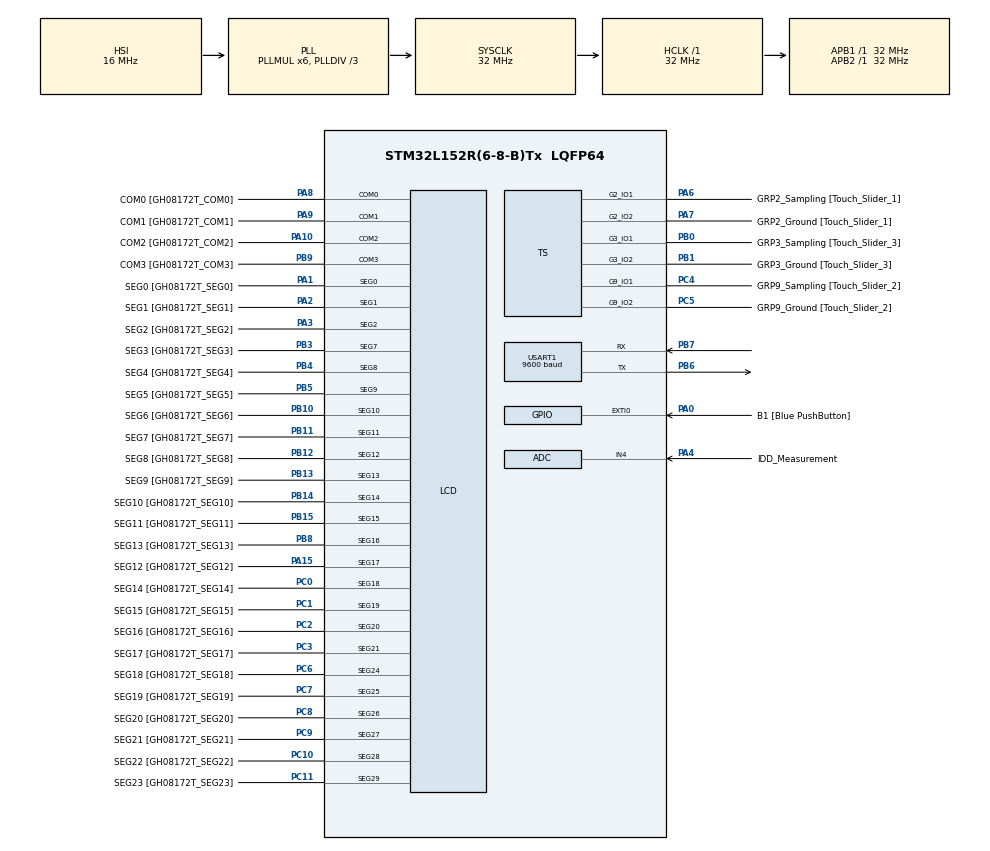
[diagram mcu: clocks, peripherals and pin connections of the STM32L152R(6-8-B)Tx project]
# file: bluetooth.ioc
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ADC.Channel=ADC_CHANNEL_4
ADC.Channel-0\#ChannelRegularConversion=ADC_CHANNEL_4
ADC.Channel-IN4=ADC_CHANNEL_4
ADC.ExternalTrigConv=ADC_EXTERNALTRIGCONV_T2_CC3
ADC.ExternalTrigConv-0\#ChannelRegularConversion=ADC_SOFTWARE_START
ADC.ExternalTrigConvEdge=ADC_EXTERNALTRIGCONVEDGE_RISING
ADC.Rank-0\#ChannelRegularConversion=1
ADC.SamplingTime-0\#ChannelRegularConversion=ADC_SAMPLETIME_4CYCLES
Mcu.Family=STM32L1
Mcu.Name=STM32L152R(6-8-B)Tx
Mcu.Package=LQFP64
NVIC.PriorityGroup=NVIC_PRIORITYGROUP_0
PA0-WKUP1.GPIO_Label=B1 [Blue PushButton]
PA0-WKUP1.GPIO_ModeDefaultEXTI=GPIO_MODE_EVT_RISING
PA0-WKUP1.GPIO_PuPd=GPIO_NOPULL
PA0-WKUP1.Signal=GPXTI0
PA1.GPIO_Label=SEG0 [GH08172T_SEG0]
PA1.GPIO_Mode=GPIO_MODE_AF_PP
PA1.GPIO_PuPd=GPIO_NOPULL
PA1.GPIO_Speed=GPIO_SPEED_FREQ_LOW
PA1.Mode=SEG0
PA1.Signal=LCD_SEG0
PA10.GPIO_Label=COM2 [GH08172T_COM2]
PA10.GPIO_Mode=GPIO_MODE_AF_PP
PA10.GPIO_PuPd=GPIO_NOPULL
PA10.GPIO_Speed=GPIO_SPEED_FREQ_LOW
PA10.Mode=1/4 Duty Cycle
PA10.Signal=LCD_COM2
PA13.GPIO_Label=SWDIO
PA13.Mode=Serial_Wire
PA13.Signal=SYS_JTMS-SWDIO
PA14.GPIO_Label=SWCLK
PA14.Mode=Serial_Wire
PA14.Signal=SYS_JTCK-SWCLK
PA15.GPIO_Label=SEG12 [GH08172T_SEG12]
PA15.GPIO_Mode=GPIO_MODE_AF_PP
PA15.GPIO_PuPd=GPIO_NOPULL
PA15.GPIO_Speed=GPIO_SPEED_FREQ_LOW
PA15.Mode=SEG17
PA15.Signal=LCD_SEG17
PA2.GPIO_Label=SEG1 [GH08172T_SEG1]
PA2.GPIO_Mode=GPIO_MODE_AF_PP
PA2.GPIO_PuPd=GPIO_NOPULL
PA2.GPIO_Speed=GPIO_SPEED_FREQ_LOW
PA2.Mode=SEG1
PA2.Signal=LCD_SEG1
PA3.GPIO_Label=SEG2 [GH08172T_SEG2]
PA3.GPIO_Mode=GPIO_MODE_AF_PP
PA3.GPIO_PuPd=GPIO_NOPULL
PA3.GPIO_Speed=GPIO_SPEED_FREQ_LOW
PA3.Mode=SEG2
PA3.Signal=LCD_SEG2
PA4.GPIO_Label=IDD_Measurement
PA4.GPIO_Mode=GPIO_MODE_ANALOG
PA4.GPIO_PuPd=GPIO_NOPULL
PA4.Mode=IN4
PA4.Signal=ADC_IN4
PA6.GPIO_Label=GRP2_Sampling [Touch_Slider_1]
PA6.Mode=G2_IO1-Sampling
PA6.Signal=TS_G2_IO1
PA7.GPIO_Label=GRP2_Ground [Touch_Slider_1]
PA7.Mode=G2_IO2-Channel
PA7.Signal=TS_G2_IO2
PA8.GPIO_Label=COM0 [GH08172T_COM0]
PA8.GPIO_Mode=GPIO_MODE_AF_PP
PA8.GPIO_PuPd=GPIO_NOPULL
PA8.GPIO_Speed=GPIO_SPEED_FREQ_LOW
PA8.Mode=1/4 Duty Cycle
PA8.Signal=LCD_COM0
PA9.GPIO_Label=COM1 [GH08172T_COM1]
PA9.GPIO_Mode=GPIO_MODE_AF_PP
PA9.GPIO_PuPd=GPIO_NOPULL
PA9.GPIO_Speed=GPIO_SPEED_FREQ_LOW
PA9.Mode=1/4 Duty Cycle
PA9.Signal=LCD_COM1
PB0.GPIO_Label=GRP3_Sampling [Touch_Slider_3]
PB0.Mode=G3_IO1-Sampling
PB0.Signal=TS_G3_IO1
PB1.GPIO_Label=GRP3_Ground [Touch_Slider_3]
PB1.Mode=G3_IO2-Channel
PB1.Signal=TS_G3_IO2
PB10.GPIO_Label=SEG6 [GH08172T_SEG6]
PB10.GPIO_Mode=GPIO_MODE_AF_PP
PB10.GPIO_PuPd=GPIO_NOPULL
PB10.GPIO_Speed=GPIO_SPEED_FREQ_LOW
PB10.Mode=SEG10
PB10.Signal=LCD_SEG10
PB11.GPIO_Label=SEG7 [GH08172T_SEG7]
PB11.GPIO_Mode=GPIO_MODE_AF_PP
PB11.GPIO_PuPd=GPIO_NOPULL
PB11.GPIO_Speed=GPIO_SPEED_FREQ_LOW
PB11.Mode=SEG11
PB11.Signal=LCD_SEG11
PB12.GPIO_Label=SEG8 [GH08172T_SEG8]
PB12.GPIO_Mode=GPIO_MODE_AF_PP
PB12.GPIO_PuPd=GPIO_NOPULL
PB12.GPIO_Speed=GPIO_SPEED_FREQ_LOW
PB12.Mode=SEG12
PB12.Signal=LCD_SEG12
PB13.GPIO_Label=SEG9 [GH08172T_SEG9]
PB13.GPIO_Mode=GPIO_MODE_AF_PP
PB13.GPIO_PuPd=GPIO_NOPULL
PB13.GPIO_Speed=GPIO_SPEED_FREQ_LOW
PB13.Mode=SEG13
PB13.Signal=LCD_SEG13
PB14.GPIO_Label=SEG10 [GH08172T_SEG10]
PB14.GPIO_Mode=GPIO_MODE_AF_PP
PB14.GPIO_PuPd=GPIO_NOPULL
PB14.GPIO_Speed=GPIO_SPEED_FREQ_LOW
PB14.Mode=SEG14
PB14.Signal=LCD_SEG14
PB15.GPIO_Label=SEG11 [GH08172T_SEG11]
PB15.GPIO_Mode=GPIO_MODE_AF_PP
PB15.GPIO_PuPd=GPIO_NOPULL
PB15.GPIO_Speed=GPIO_SPEED_FREQ_LOW
PB15.Mode=SEG15
PB15.Signal=LCD_SEG15
PB3.GPIO_Label=SEG3 [GH08172T_SEG3]
PB3.GPIO_Mode=GPIO_MODE_AF_PP
PB3.GPIO_PuPd=GPIO_NOPULL
PB3.GPIO_Speed=GPIO_SPEED_FREQ_LOW
PB3.Mode=SEG7
PB3.Signal=LCD_SEG7
PB4.GPIO_Label=SEG4 [GH08172T_SEG4]
PB4.GPIO_Mode=GPIO_MODE_AF_PP
PB4.GPIO_PuPd=GPIO_NOPULL
PB4.GPIO_Speed=GPIO_SPEED_FREQ_LOW
PB4.Mode=SEG8
PB4.Signal=LCD_SEG8
PB5.GPIO_Label=SEG5 [GH08172T_SEG5]
PB5.GPIO_Mode=GPIO_MODE_AF_PP
PB5.GPIO_PuPd=GPIO_NOPULL
PB5.GPIO_Speed=GPIO_SPEED_FREQ_LOW
PB5.Mode=SEG9
PB5.Signal=LCD_SEG9
PB6.Mode=Asynchronous
PB6.Signal=USART1_TX
PB7.Mode=Asynchronous
PB7.Signal=USART1_RX
PB8.GPIO_Label=SEG13 [GH08172T_SEG13]
PB8.GPIO_Mode=GPIO_MODE_AF_PP
PB8.GPIO_PuPd=GPIO_NOPULL
PB8.GPIO_Speed=GPIO_SPEED_FREQ_LOW
PB8.Mode=SEG16
PB8.Signal=LCD_SEG16
PB9.GPIO_Label=COM3 [GH08172T_COM3]
PB9.GPIO_Mode=GPIO_MODE_AF_PP
PB9.GPIO_PuPd=GPIO_NOPULL
PB9.GPIO_Speed=GPIO_SPEED_FREQ_LOW
PB9.Mode=1/4 Duty Cycle
PB9.Signal=LCD_COM3
PC0.GPIO_Label=SEG14 [GH08172T_SEG14]
PC0.GPIO_Mode=GPIO_MODE_AF_PP
PC0.GPIO_PuPd=GPIO_NOPULL
PC0.GPIO_Speed=GPIO_SPEED_FREQ_LOW
PC0.Mode=SEG18
PC0.Signal=LCD_SEG18
PC1.GPIO_Label=SEG15 [GH08172T_SEG15]
PC1.GPIO_Mode=GPIO_MODE_AF_PP
PC1.GPIO_PuPd=GPIO_NOPULL
PC1.GPIO_Speed=GPIO_SPEED_FREQ_LOW
PC1.Mode=SEG19
PC1.Signal=LCD_SEG19
PC10.GPIO_Label=SEG22 [GH08172T_SEG22]
PC10.GPIO_Mode=GPIO_MODE_AF_PP
PC10.GPIO_PuPd=GPIO_NOPULL
PC10.GPIO_Speed=GPIO_SPEED_FREQ_LOW
PC10.Mode=SEG28
PC10.Signal=LCD_SEG28
PC11.GPIO_Label=SEG23 [GH08172T_SEG23]
PC11.GPIO_Mode=GPIO_MODE_AF_PP
PC11.GPIO_PuPd=GPIO_NOPULL
PC11.GPIO_Speed=GPIO_SPEED_FREQ_LOW
PC11.Mode=SEG29
PC11.Signal=LCD_SEG29
PC14-OSC32_IN.GPIO_Label=PC14-OSC32_IN
PC14-OSC32_IN.Mode=LSE-External-Oscillator
PC14-OSC32_IN.Signal=RCC_OSC32_IN
PC15-OSC32_OUT.GPIO_Label=PC15-OSC32_OUT
PC15-OSC32_OUT.Mode=LSE-External-Oscillator
PC15-OSC32_OUT.Signal=RCC_OSC32_OUT
PC2.GPIO_Label=SEG16 [GH08172T_SEG16]
PC2.GPIO_Mode=GPIO_MODE_AF_PP
PC2.GPIO_PuPd=GPIO_NOPULL
PC2.GPIO_Speed=GPIO_SPEED_FREQ_LOW
PC2.Mode=SEG20
PC2.Signal=LCD_SEG20
PC3.GPIO_Label=SEG17 [GH08172T_SEG17]
PC3.GPIO_Mode=GPIO_MODE_AF_PP
PC3.GPIO_PuPd=GPIO_NOPULL
PC3.GPIO_Speed=GPIO_SPEED_FREQ_LOW
PC3.Mode=SEG21
PC3.Signal=LCD_SEG21
PC4.GPIO_Label=GRP9_Sampling [Touch_Slider_2]
PC4.Mode=G9_IO1-Sampling
PC4.Signal=TS_G9_IO1
PC5.GPIO_Label=GRP9_Ground [Touch_Slider_2]
PC5.Mode=G9_IO2-Channel
PC5.Signal=TS_G9_IO2
PC6.GPIO_Label=SEG18 [GH08172T_SEG18]
PC6.GPIO_Mode=GPIO_MODE_AF_PP
PC6.GPIO_PuPd=GPIO_NOPULL
PC6.GPIO_Speed=GPIO_SPEED_FREQ_LOW
PC6.Mode=SEG24
PC6.Signal=LCD_SEG24
PC7.GPIO_Label=SEG19 [GH08172T_SEG19]
PC7.GPIO_Mode=GPIO_MODE_AF_PP
PC7.GPIO_PuPd=GPIO_NOPULL
PC7.GPIO_Speed=GPIO_SPEED_FREQ_LOW
PC7.Mode=SEG25
PC7.Signal=LCD_SEG25
PC8.GPIO_Label=SEG20 [GH08172T_SEG20]
PC8.GPIO_Mode=GPIO_MODE_AF_PP
PC8.GPIO_PuPd=GPIO_NOPULL
PC8.GPIO_Speed=GPIO_SPEED_FREQ_LOW
PC8.Mode=SEG26
PC8.Signal=LCD_SEG26
PC9.GPIO_Label=SEG21 [GH08172T_SEG21]
PC9.GPIO_Mode=GPIO_MODE_AF_PP
PC9.GPIO_PuPd=GPIO_NOPULL
PC9.GPIO_Speed=GPIO_SPEED_FREQ_LOW
PC9.Mode=SEG27
PC9.Signal=LCD_SEG27
ProjectManager.HeapSize=0x200
ProjectManager.StackSize=0x400
ProjectManager.TargetToolchain=STM32CubeIDE
RCC.48MHZClocksFreq_Value=48000000
RCC.AHBFreq_Value=32000000
RCC.APB1Freq_Value=32000000
RCC.APB1TimFreq_Value=32000000
RCC.APB2Freq_Value=32000000
RCC.APB2TimFreq_Value=32000000
RCC.HCLKFreq_Value=32000000
RCC.HSE_VALUE=8000000
RCC.HSI_VALUE=16000000
RCC.MSI_VALUE=2097000
RCC.PLLDIV=RCC_PLL_DIV3
RCC.PLLMUL=RCC_PLL_MUL6
RCC.RTCClockSelectionVirtual=RCC_RTCCLKSOURCE_LSE
RCC.SYSCLKFreq_VALUE=32000000
RCC.SYSCLKSource=RCC_SYSCLKSOURCE_PLLCLK
RCC.USBOutput=48000000
RCC.VCOOutputFreq_Value=96000000
USART1.BaudRate=9600
USART1.VirtualMode=VM_ASYNC
board=STM32L-DISCOVERY

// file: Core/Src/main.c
/* USER CODE BEGIN Header */
/**
  ******************************************************************************
  * @file           : main.c
  * @brief          : Main program body
  ******************************************************************************
  * @attention
  *
  * Copyright (c) 2024 STMicroelectronics.
  * All rights reserved.
  *
  * This software is licensed under terms that can be found in the LICENSE file
  * in the root directory of this software component.
  * If no LICENSE file comes with this software, it is provided AS-IS.
  *
  ******************************************************************************
  */
/* USER CODE END Header */
#include "main.h"

/* USER CODE BEGIN PD */
#define MOTOR_A_IN1_PIN GPIO_PIN_6 // PC6
#define MOTOR_A_IN2_PIN GPIO_PIN_7 // PC7
#define MOTOR_B_IN3_PIN GPIO_PIN_8 // PC8
#define MOTOR_B_IN4_PIN GPIO_PIN_9 // PC9
#define TX GPIO_PIN_6 // PB6
#define RX GPIO_PIN_7 // PB7

/* USER CODE END PD */

ADC_HandleTypeDef hadc;

LCD_HandleTypeDef hlcd;

UART_HandleTypeDef huart1;

/* USER CODE BEGIN PV */
uint8_t data[6];
/* USER CODE END PV */

void SystemClock_Config(void);
static void MX_GPIO_Init(void);
static void MX_ADC_Init(void);
static void MX_LCD_Init(void);
static void MX_TS_Init(void);
static void MX_USART1_UART_Init(void);

/* USER CODE BEGIN 0 */
void stopWheels(void) {
    // Stop both motors
    GPIOC->BSRR = (GPIO_PIN_6 | GPIO_PIN_7 | GPIO_PIN_8 | GPIO_PIN_9) << 16;
}
void moveForward(void) {
    // Move both motors forward
    GPIOC->BSRR = GPIO_PIN_6 | GPIO_PIN_8;
    GPIOC->BSRR = (GPIO_PIN_7 | GPIO_PIN_9) << 16;
}
void rightWheel(void) {
    // Turn right by moving right motor forward and left motor backward
    GPIOC->BSRR = GPIO_PIN_6;  // Activar el pin de dirección del motor izquierdo hacia adelante
    GPIOC->BSRR = GPIO_PIN_9;  // Activar el pin de dirección del motor derecho hacia atrás
    GPIOC->BSRR = (GPIO_PIN_7 | GPIO_PIN_8) << 16; // Desactivar los pines de dirección opuestos
}

void leftWheel(void) {
    // Turn left by moving left motor forward and right motor backward
    GPIOC->BSRR = GPIO_PIN_7;  // Activar el pin de dirección del motor izquierdo hacia adelante
    GPIOC->BSRR = GPIO_PIN_8;  // Activar el pin de dirección del motor derecho hacia atrás
    GPIOC->BSRR = (GPIO_PIN_6 | GPIO_PIN_9) << 16; // Desactivar los pines de dirección opuestos
}

void moveBackward(void) {
    // Move both motors backward by reversing the direction logic
	 GPIOC->BSRR = GPIO_PIN_7 | GPIO_PIN_9;  // Activar los pines de dirección opuestos
	    GPIOC->BSRR = (GPIO_PIN_6 | GPIO_PIN_8) << 16;  // Desactivar los pines de dirección hacia adelante
}

/* USER CODE END 0 */

int main(void)
{

  /* MCU Configuration--------------------------------------------------------*/

  /* Reset of all peripherals, Initializes the Flash interface and the Systick. */
  HAL_Init();

  /* Configure the system clock */
  SystemClock_Config();

  /* Initialize all configured peripherals */
  MX_GPIO_Init();
  MX_ADC_Init();
  MX_LCD_Init();
  MX_TS_Init();
  MX_USART1_UART_Init();
  /* USER CODE BEGIN 2 */
  GPIOC->MODER &= ~(1 << (6*2+1));
    GPIOC->MODER |= (1 << (6*2));

    GPIOC->MODER &= ~(1 << (7*2+1));
    GPIOC->MODER |= (1 << (7*2));

    GPIOC->MODER &= ~(1 << (8*2+1));
    GPIOC->MODER |= (1 << (8*2));

    GPIOC->MODER &= ~(1 << (9*2+1));
    GPIOC->MODER |= (1 << (9*2));

  HAL_UART_Transmit(&huart1, &data[0], 1, 10000);
  /* USER CODE END 2 */

  /* Infinite loop */
  while (1)
  {
	  if (HAL_UART_Receive(&huart1, data, 1, 10000) == HAL_OK) {
	          switch (data[0]) {
	              case 'F':
	                  moveForward();
	                  break;
	              case 'S':
	                  stopWheels();
	                  break;
	              case 'R':
             	  rightWheel();
              	 break;
                 case 'L':
           	      leftWheel();
           	     break;
                 case 'B':
           	     moveBackward();
	               break;
	              default:
	                  // Handle any unexpected commands
	                  break;
	    }
	  }

  }
}

void SystemClock_Config(void)
{
  RCC_OscInitTypeDef RCC_OscInitStruct = {0};
  RCC_ClkInitTypeDef RCC_ClkInitStruct = {0};
  RCC_PeriphCLKInitTypeDef PeriphClkInit = {0};

  /** Configure the main internal regulator output voltage
  */
  __HAL_PWR_VOLTAGESCALING_CONFIG(PWR_REGULATOR_VOLTAGE_SCALE1);

  /** Initializes the RCC Oscillators according to the specified parameters
  * in the RCC_OscInitTypeDef structure.
  */
  RCC_OscInitStruct.OscillatorType = RCC_OSCILLATORTYPE_HSI|RCC_OSCILLATORTYPE_LSE;
  RCC_OscInitStruct.LSEState = RCC_LSE_ON;
  RCC_OscInitStruct.HSIState = RCC_HSI_ON;
  RCC_OscInitStruct.HSICalibrationValue = RCC_HSICALIBRATION_DEFAULT;
  RCC_OscInitStruct.PLL.PLLState = RCC_PLL_ON;
  RCC_OscInitStruct.PLL.PLLSource = RCC_PLLSOURCE_HSI;
  RCC_OscInitStruct.PLL.PLLMUL = RCC_PLL_MUL6;
  RCC_OscInitStruct.PLL.PLLDIV = RCC_PLL_DIV3;
  if (HAL_RCC_OscConfig(&RCC_OscInitStruct) != HAL_OK)
  {
    Error_Handler();
  }

  /** Initializes the CPU, AHB and APB buses clocks
  */
  RCC_ClkInitStruct.ClockType = RCC_CLOCKTYPE_HCLK|RCC_CLOCKTYPE_SYSCLK
                              |RCC_CLOCKTYPE_PCLK1|RCC_CLOCKTYPE_PCLK2;
  RCC_ClkInitStruct.SYSCLKSource = RCC_SYSCLKSOURCE_PLLCLK;
  RCC_ClkInitStruct.AHBCLKDivider = RCC_SYSCLK_DIV1;
  RCC_ClkInitStruct.APB1CLKDivider = RCC_HCLK_DIV1;
  RCC_ClkInitStruct.APB2CLKDivider = RCC_HCLK_DIV1;

  if (HAL_RCC_ClockConfig(&RCC_ClkInitStruct, FLASH_LATENCY_1) != HAL_OK)
  {
    Error_Handler();
  }
  PeriphClkInit.PeriphClockSelection = RCC_PERIPHCLK_RTC|RCC_PERIPHCLK_LCD;
  PeriphClkInit.RTCClockSelection = RCC_RTCCLKSOURCE_LSE;
  PeriphClkInit.LCDClockSelection = RCC_RTCCLKSOURCE_LSE;

  if (HAL_RCCEx_PeriphCLKConfig(&PeriphClkInit) != HAL_OK)
  {
    Error_Handler();
  }
}

static void MX_ADC_Init(void)
{

  ADC_ChannelConfTypeDef sConfig = {0};

  /** Configure the global features of the ADC (Clock, Resolution, Data Alignment and number of conversion)
  */
  hadc.Instance = ADC1;
  hadc.Init.ClockPrescaler = ADC_CLOCK_ASYNC_DIV1;
  hadc.Init.Resolution = ADC_RESOLUTION_12B;
  hadc.Init.DataAlign = ADC_DATAALIGN_RIGHT;
  hadc.Init.ScanConvMode = ADC_SCAN_DISABLE;
  hadc.Init.EOCSelection = ADC_EOC_SEQ_CONV;
  hadc.Init.LowPowerAutoWait = ADC_AUTOWAIT_DISABLE;
  hadc.Init.LowPowerAutoPowerOff = ADC_AUTOPOWEROFF_DISABLE;
  hadc.Init.ChannelsBank = ADC_CHANNELS_BANK_A;
  hadc.Init.ContinuousConvMode = DISABLE;
  hadc.Init.NbrOfConversion = 1;
  hadc.Init.DiscontinuousConvMode = DISABLE;
  hadc.Init.ExternalTrigConv = ADC_EXTERNALTRIGCONV_T2_CC3;
  hadc.Init.ExternalTrigConvEdge = ADC_EXTERNALTRIGCONVEDGE_RISING;
  hadc.Init.DMAContinuousRequests = DISABLE;
  if (HAL_ADC_Init(&hadc) != HAL_OK)
  {
    Error_Handler();
  }

  /** Configure for the selected ADC regular channel its corresponding rank in the sequencer and its sample time.
  */
  sConfig.Channel = ADC_CHANNEL_4;
  sConfig.Rank = ADC_REGULAR_RANK_1;
  sConfig.SamplingTime = ADC_SAMPLETIME_4CYCLES;
  if (HAL_ADC_ConfigChannel(&hadc, &sConfig) != HAL_OK)
  {
    Error_Handler();
  }

}

static void MX_LCD_Init(void)
{

  hlcd.Instance = LCD;
  hlcd.Init.Prescaler = LCD_PRESCALER_1;
  hlcd.Init.Divider = LCD_DIVIDER_16;
  hlcd.Init.Duty = LCD_DUTY_1_4;
  hlcd.Init.Bias = LCD_BIAS_1_4;
  hlcd.Init.VoltageSource = LCD_VOLTAGESOURCE_INTERNAL;
  hlcd.Init.Contrast = LCD_CONTRASTLEVEL_0;
  hlcd.Init.DeadTime = LCD_DEADTIME_0;
  hlcd.Init.PulseOnDuration = LCD_PULSEONDURATION_0;
  hlcd.Init.MuxSegment = LCD_MUXSEGMENT_DISABLE;
  hlcd.Init.BlinkMode = LCD_BLINKMODE_OFF;
  hlcd.Init.BlinkFrequency = LCD_BLINKFREQUENCY_DIV8;
  if (HAL_LCD_Init(&hlcd) != HAL_OK)
  {
    Error_Handler();
  }

}

static void MX_TS_Init(void)
{

}

static void MX_USART1_UART_Init(void)
{

  huart1.Instance = USART1;
  huart1.Init.BaudRate = 9600;
  huart1.Init.WordLength = UART_WORDLENGTH_8B;
  huart1.Init.StopBits = UART_STOPBITS_1;
  huart1.Init.Parity = UART_PARITY_NONE;
  huart1.Init.Mode = UART_MODE_TX_RX;
  huart1.Init.HwFlowCtl = UART_HWCONTROL_NONE;
  huart1.Init.OverSampling = UART_OVERSAMPLING_16;
  if (HAL_UART_Init(&huart1) != HAL_OK)
  {
    Error_Handler();
  }

}

static void MX_GPIO_Init(void)
{
  GPIO_InitTypeDef GPIO_InitStruct = {0};

  /* GPIO Ports Clock Enable */
  __HAL_RCC_GPIOC_CLK_ENABLE();
  __HAL_RCC_GPIOA_CLK_ENABLE();
  __HAL_RCC_GPIOB_CLK_ENABLE();

  /*Configure GPIO pin : B1_Pin */
  GPIO_InitStruct.Pin = B1_Pin;
  GPIO_InitStruct.Mode = GPIO_MODE_EVT_RISING;
  GPIO_InitStruct.Pull = GPIO_NOPULL;
  HAL_GPIO_Init(B1_GPIO_Port, &GPIO_InitStruct);

}

void Error_Handler(void)
{
  __disable_irq();
  while (1)
  {
  }
}
